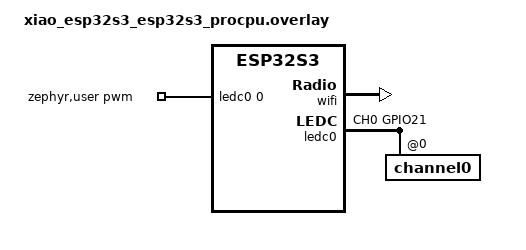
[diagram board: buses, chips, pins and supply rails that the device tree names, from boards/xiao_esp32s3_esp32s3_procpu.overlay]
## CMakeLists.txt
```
# SPDX-License-Identifier: Apache-2.0
# deploybench（板级十）：Agent→真机完整部署 E2E 的板侧载体。
# 凭证与路由地址经 cmake 变量注入（本地脚本传入，不入仓库——netbench 同纪律）：
#   west build ... -- -DDEPLOYBENCH_WIFI_SSID=... -DDEPLOYBENCH_WIFI_PASSWORD=... \
#                    -DDEPLOYBENCH_ROUTER='"tcp/192.168.2.90:9955"'
cmake_minimum_required(VERSION 3.20.0)
find_package(Zephyr REQUIRED HINTS $ENV{ZEPHYR_BASE})
project(deploybench)

target_compile_definitions(app PRIVATE
  DEPLOYBENCH_WIFI_SSID="${DEPLOYBENCH_WIFI_SSID}"
  DEPLOYBENCH_WIFI_PASSWORD="${DEPLOYBENCH_WIFI_PASSWORD}"
  DEPLOYBENCH_ROUTER="${DEPLOYBENCH_ROUTER}")

target_sources(app PRIVATE src/main.c)
```

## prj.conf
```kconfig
# SPDX-License-Identifier: Apache-2.0
# deploybench（板级十）：Agent→真机完整部署 E2E 板侧载体。
# 组合 = netbench（WiFi+zenoh+命令面）+ persistbench（flash 后端+WAMR+分步
# 安装）。prov 首启经 TS_TEST 烧入 flash（此后每次复位出自 flash——板级五
# 语义）；APP 由 Agent 侧经 zenoh 分块部署（client.py 复用 Agent deploy 链）。

# Tessera 框架（部署面全量：net + WAMR 运行时 + flash store）
CONFIG_TS_CORE=y
CONFIG_TS_SAFETY=y
CONFIG_TS_HAL=y
CONFIG_TS_NET=y
CONFIG_TS_NET_ZENOH=y
CONFIG_TS_TEST=y
CONFIG_TS_APP_WAMR=y
CONFIG_TS_STORE=y
CONFIG_FLASH=y
CONFIG_FLASH_MAP=y
CONFIG_TS_STORE_FLASH=y
CONFIG_REBOOT=y

# zenoh-pico（DR-22 钉 1.10.1；netbench 同档）
CONFIG_ZENOH_PICO=y
CONFIG_ZENOH_PICO_PUBLICATION=y
CONFIG_ZENOH_PICO_SUBSCRIPTION=y
CONFIG_ZENOH_PICO_QUERYABLE=y
CONFIG_ZENOH_PICO_LINK_TCP=y
CONFIG_ZENOH_PICO_LINK_UDP_UNICAST=y
CONFIG_ZENOH_PICO_MULTI_THREAD=y
CONFIG_POSIX_API=y

# 网络：WiFi STA + DHCPv4 + lwIP（netbench 同档）
CONFIG_NETWORKING=y
CONFIG_NET_L2_ETHERNET=y
CONFIG_NET_IPV4=y
CONFIG_NET_ARP=y
CONFIG_NET_UDP=y
CONFIG_NET_TCP=y
CONFIG_NET_SOCKETS=y
CONFIG_NET_DHCPV4=y
CONFIG_DNS_RESOLVER=y
CONFIG_WIFI=y
CONFIG_NET_MAX_CONTEXTS=12
# （本行活值——deploybench 板级 conf 无覆盖；atkbench 的 12 被板级 4 覆盖
#  才是 R0 案例。MP R0 纪律：声明是否生效以 .config 为准逐项核对）

# zenoh-pico 会话/读任务内存（netbench 档位；堆权威 = 板级 conf——
# prj.conf 声明≠生效，MP R0 陷阱，查 .config）
CONFIG_MAIN_STACK_SIZE=8192
CONFIG_THREAD_STACK_INFO=y
CONFIG_DYNAMIC_THREAD=y
CONFIG_DYNAMIC_THREAD_ALLOC=y
CONFIG_DYNAMIC_THREAD_PREFER_ALLOC=y
CONFIG_DYNAMIC_THREAD_STACK_SIZE=8192
CONFIG_POSIX_THREAD_THREADS_MAX=8
CONFIG_MAX_PTHREAD_MUTEX_COUNT=16
CONFIG_MAX_PTHREAD_COND_COUNT=16

CONFIG_ENTROPY_GENERATOR=y
CONFIG_PRINTK=y
# 主线程降优先级（bench 同款：net_wq 8 / APP 10 优先于观测线程）
CONFIG_MAIN_THREAD_PRIORITY=15
```

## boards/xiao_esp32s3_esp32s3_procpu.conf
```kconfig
# 板级十：内存片段 = persistbench（slot 32KB/APP 线程栈 16KB）+ netbench
# （系统池 188416——板级七 net_wq 迁离后让 8KB 档位）+ psrambench（WAMR
# 实例堆 256KB 入 PSRAM——板级六；WiFi+zenoh+WAMR 三合一 DRAM 装不下内部堆）。
CONFIG_ESP_SPIRAM=y
CONFIG_SPIRAM_MODE_OCT=y
CONFIG_ESP_SPIRAM_MEMTEST=y
CONFIG_TS_APP_PSRAM_HEAP=y
CONFIG_TS_APP_WAMR_HEAP=262144
CONFIG_TS_STORE_SLOT_SIZE=32768
CONFIG_TS_APP_THREAD_STACK=16384
# 单元 I（MD2-D8）：模块静态面增长（单元 A avq/F 输入数组/D net_wq 栈）
# 超出板级十 748B 余量（dram0 溢出 29460）——系统池 188416→156672（LOAD_MAX +2KB 后再平）
# （-30720；板级七档位重平，D8 全链真机实测验证）。
# MP 基线批（2026-10-19）：4.5-rc1 静态面增长下 dram0 溢出 3388B——
# 145408→139264（−6144，余 ~2.7K 链接余量；标准档实测口径）。
CONFIG_HEAP_MEM_POOL_SIZE=131072
# MP 审计 R1/R2 防御（netbench 双 fail 同型——rx_q 缺省 1500/sysworkq
# 缺省 1024 在 4.5-rc1 部署突发下的 FATAL/静默腐蚀风险；heap 再让 8192）。
CONFIG_NET_RX_STACK_SIZE=4096
CONFIG_SYSTEM_WORKQUEUE_STACK_SIZE=4096
# DRAM 三合一（WiFi+zenoh+WAMR）装不下默认值——DEC-29 每板动态预算裁剪：
# 装载缓冲按夹具尺寸级（286B wasm + 余量）；通道容量按本载体实际注册数
# （1 通道 dbled，留 8）。系统池不动（zenoh 会话峰值域 = 板级七实测档位）。
# 单元 I（MD2-D8）：demo 包 wasm 增大（v2 ~2.7KB）——装载缓冲
# 2048→4096（池预算已腾 30KB，覆盖之）。
CONFIG_TS_APP_LOAD_MAX=4096
# MD1.1（板级十一）：PWM 后端（D3 demo 限幅判据；periphbench 同款绑定）
CONFIG_PWM=y
CONFIG_TS_DRV_PWM=y
# PWM 驱动并入后 dram 再紧——通道容量 8→4（本载体注册 2 通道：dbled/dbpwm）
CONFIG_TS_SAFETY_MAX_CHANNELS=4

# 验签双区 scratch（DEC-49：最大 demo 包 payload ~3.5KB → 7168）
CONFIG_TS_VERIFY_SCRATCH=7168
# 4.5 复验批（同型防御）：verify 链在 4096 main 栈实测挂死（persistbench
# 实证——教训 31⑤ 同型）；8192 定值。
CONFIG_MAIN_STACK_SIZE=8192

# V0.4.0 M7c（Q-32①③）：双实例并行 + 槽池 4（overlay 槽 c/d）
CONFIG_TS_APP_MAX_INSTANCES=2
CONFIG_TS_STORE_SLOT_COUNT=4
# 双实例 WAMR 池（sim 实测 ~150KB/实例 → 板级 512KB@PSRAM）
CONFIG_TS_APP_WAMR_HEAP=524288
# M7c：双实例线程栈（2×8KB = 原单实例 16KB 总量；DRAM 预算守恒）
CONFIG_TS_APP_THREAD_STACK=8192
# M9（DR-15）：kv 面
CONFIG_TS_STORE_KV=y
```

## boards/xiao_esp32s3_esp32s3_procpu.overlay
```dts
/*
 * 板级十：deploybench = WiFi 使能（netbench 同款）+ ts-store flash 分区
 * （persistbench 同款——ts 五分区 + fw-b 预留 carved 自 slot1 空闲区，
 * boot/sys/slot0 与 esptool 偏移零变化）。
 * 板级十一（MD1.1）：并入 PWM 后端绑定（periphbench 同款——D3 呼吸灯
 * demo 限幅判据需要板上 PWM 通道；LEDC_CH0 → GPIO21 板载 LED）。
 */
#include <zephyr/dt-bindings/pinctrl/esp32s3-pinctrl.h>

&wifi {
	status = "okay";
};

&pinctrl {
	pb_ledc0: pb_ledc0 {
		group1 {
			pinmux = <LEDC_CH0_GPIO21>;
			output-enable;
		};
	};
};

&ledc0 {
	status = "okay";
	pinctrl-0 = <&pb_ledc0>;
	pinctrl-names = "default";
	#address-cells = <1>;
	#size-cells = <0>;
	channel0@0 {
		reg = <0x0>;
		timer = <0>;
	};
};

/delete-node/ &slot1_partition;

&flash0 {
	partitions {
		ts_prov_part: partition@170000 {
			compatible = "zephyr,mapped-partition";
			label = "ts-prov";
			reg = <0x170000 0x1000>;
		};
		ts_meta_part: partition@171000 {
			compatible = "zephyr,mapped-partition";
			label = "ts-meta";
			reg = <0x171000 0x2000>;
		};
		ts_slot_a_part: partition@173000 {
			compatible = "zephyr,mapped-partition";
			label = "ts-slot-a";
			reg = <0x173000 0x8000>;
		};
		ts_slot_b_part: partition@17b000 {
			compatible = "zephyr,mapped-partition";
			label = "ts-slot-b";
			reg = <0x17b000 0x8000>;
		};
		/* V0.4.0 M7c（Q-32②）：槽池扩至 4——entry1 双槽乒乓对 {2,3} */
		ts_slot_c_part: partition@183000 {
			compatible = "zephyr,mapped-partition";
			label = "ts-slot-c";
			reg = <0x183000 0x8000>;
		};
		ts_slot_d_part: partition@18b000 {
			compatible = "zephyr,mapped-partition";
			label = "ts-slot-d";
			reg = <0x18b000 0x8000>;
		};
		ts_noinit_part: partition@193000 {
			compatible = "zephyr,mapped-partition";
			label = "ts-noinit";
			reg = <0x193000 0x1000>;
		};
		/* V0.4.0 M9（DR-15）：APP 状态 kv 8KB（两页 × 15 槽 × 264B） */
		ts_kv_part: partition@194000 {
			compatible = "zephyr,mapped-partition";
			label = "ts-kv";
			reg = <0x194000 0x2000>;
		};
		/* fw-b：未来 MCUmgr 固件第二 slot 预留（DEC-23；V1 未接线——
		 * M7c/M9 连续让位） */
		fw_b_part: partition@196000 {
			label = "fw-b";
			reg = <0x196000 0x12a000>;
		};
	};
};

/ {
	zephyr,user {
		/* PWM 后端绑定（板级九模式）：uid 匹配通道逻辑名 */
		pwm-uid = "dbpwm";
		pwms = <&ledc0 0 1000000 0>;
	};
};
```

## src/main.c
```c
/* SPDX-License-Identifier: Apache-2.0 */
/* deploybench（板级十）：Agent→真机完整部署 E2E 的板侧载体
 * （docs/board-deploy.md）。链路：WiFi STA（glue = netbench 板级七定稿：
 * 固定 2s 无抖动重试 + 断线 DHCP 重启 + media_down 下沉）→ prov flash 持久
 * （首启 TS_TEST 烧入，此后复位全出自 flash——板级五语义）→ ts_core_boot
 * （net_init → zenoh 命令面〔sys/app-* 分步安装链〕+ 步骤 8 slot 装载）。
 * 部署编排全部在 Agent 侧（client.py 复用 deploy 链：发现→租约→分块→
 * verify→activate→get-app）；板侧只做：激活检测 → 自动暖复位 → 复位后
 * APP 自 slot 装载运行的观测宣告。
 *
 * DB* console 行 = 板侧时间线；DEPLOY_* = client.py 侧判定。
 * 凭证经 cmake 变量注入（DEPLOYBENCH_WIFI_*，不入仓库）。 */
#include <string.h>
#include <zephyr/kernel.h>
#include <zephyr/net/net_event.h>
#include <zephyr/net/net_if.h>
#include <zephyr/net/net_mgmt.h>
#include <zephyr/net/wifi_mgmt.h>
#include <zephyr/net/dhcpv4.h> /* 须在 net_if.h 之后（参数表内 struct net_if 可见性） */
#include <zephyr/sys/atomic.h>
#include <zephyr/sys/reboot.h>
#include <ts/appmgr.h>
#include <ts/core.h>
#include <ts/hal.h>
#include <ts/net.h>
#include <ts/safety.h>
#include <ts/store.h>

#ifndef DEPLOYBENCH_WIFI_SSID
#define DEPLOYBENCH_WIFI_SSID ""
#endif
#ifndef DEPLOYBENCH_WIFI_PASSWORD
#define DEPLOYBENCH_WIFI_PASSWORD ""
#endif
#ifndef DEPLOYBENCH_ROUTER
#define DEPLOYBENCH_ROUTER "tcp/192.168.2.91:9955"
#endif

/* ---- WiFi glue（netbench 板级七定稿模式，全文照搬语义） ------------------ */

static struct net_mgmt_event_callback ip_cb;
static struct net_mgmt_event_callback wifi_cb;
static struct k_sem ip_ready;
static atomic_t assoc_ok_evt;
static atomic_t disconn_evt;
static struct k_work_delayable wifi_retry_work;
static struct k_work assoc_work;
static struct wifi_connect_req_params cnx;

static void wifi_try_connect(struct k_work *w)
{
	ARG_UNUSED(w);
	int rc = net_mgmt(NET_REQUEST_WIFI_CONNECT, net_if_get_default(),
			  &cnx, sizeof(cnx));

	if (rc != 0) {
		k_work_reschedule(&wifi_retry_work, K_SECONDS(2));
	}
}

static void wifi_assoc_work(struct k_work *w)
{
	/* net_mgmt 一律工作项上下文（回调内重入自激——板级七实证） */
	ARG_UNUSED(w);
	struct net_if *iface = net_if_get_default();

	if (atomic_set(&disconn_evt, 0) == 1) {
		ts_net_session_media_down();
		net_dhcpv4_restart(iface);
		k_work_reschedule(&wifi_retry_work, K_SECONDS(2));
	}
	if (atomic_set(&assoc_ok_evt, 0) == 1) {
		struct wifi_ps_params ps = {.enabled = WIFI_PS_DISABLED};

		(void)net_mgmt(NET_REQUEST_WIFI_PS, iface, &ps, sizeof(ps));
		printk("DBw associated t=%u\n", (unsigned)k_uptime_get_32());
	}
}

static void ip_handler(struct net_mgmt_event_callback *cb, uint64_t event,
		       struct net_if *iface)
{
	ARG_UNUSED(cb);
	if (event == NET_EVENT_IPV4_ADDR_ADD && net_if_is_up(iface)) {
		k_sem_give(&ip_ready);
	}
}

static void wifi_handler(struct net_mgmt_event_callback *cb, uint64_t event,
			 struct net_if *iface)
{
	ARG_UNUSED(iface);
	if (event == NET_EVENT_WIFI_CONNECT_RESULT) {
		const struct wifi_status *st =
			(const struct wifi_status *)cb->info;

		if (st != NULL && st->status == 0) {
			atomic_set(&assoc_ok_evt, 1);
		}
	} else if (event == NET_EVENT_WIFI_DISCONNECT_RESULT) {
		atomic_set(&disconn_evt, 1);
	}
	if (atomic_get(&assoc_ok_evt) == 1 || atomic_get(&disconn_evt) == 1) {
		k_work_submit(&assoc_work);
	}
}

/* {"v":1,"node_id":"dbn","cube_id":"dbc","routers":["tcp/192.168.2.101:9957"],
 *  "pk0":32×00,"pk1":32×00,"cred":"","pwr_ma":500,"estop":0}（定稿键序，
 *  prov.c 固定走查序）。**数组 = 脚本机械生成并按固件 schema 走查验证**
 *  （~/project/logs/gen_db_prov.py：netbench 数组改 id 字节）——手抄曾丢
 *  6 字节致固件解析 fail-closed（板级十过程留痕）。router 字面量生成期
 *  固化——PC 侧 IP 变更须重生成。pk 全零：V1 固件验签 = COSE 结构级
 *  （tag18+array4，pkg.c verify_cose_minimal 已知限制），与 Agent 侧
 *  tsap_verify（真 ed25519）分层——板级十报告留痕。 */
static const uint8_t prov_blob[] = {
	0xa9, 0x61, 0x76, 0x01, 0x67, 0x6e, 0x6f, 0x64, 0x65, 0x5f, 0x69, 0x64,
	0x63, 0x64, 0x62, 0x6e, 0x67, 0x63, 0x75, 0x62, 0x65, 0x5f, 0x69, 0x64,
	0x63, 0x64, 0x62, 0x63, 0x67, 0x72, 0x6f, 0x75, 0x74, 0x65, 0x72, 0x73,
	0x81, 0x76, 0x74, 0x63, 0x70, 0x2f, 0x31, 0x39, 0x32, 0x2e, 0x31, 0x36,
	0x38, 0x2e, 0x32, 0x2e, 0x31, 0x30, 0x31, 0x3a, 0x39, 0x39, 0x35, 0x37,
	0x63, 0x70, 0x6b, 0x30, 0x58, 0x20, 0x00, 0x00, 0x00, 0x00, 0x00, 0x00,
	0x00, 0x00, 0x00, 0x00, 0x00, 0x00, 0x00, 0x00, 0x00, 0x00, 0x00, 0x00,
	0x00, 0x00, 0x00, 0x00, 0x00, 0x00, 0x00, 0x00, 0x00, 0x00, 0x00, 0x00,
	0x00, 0x00, 0x63, 0x70, 0x6b, 0x31, 0x58, 0x20, 0x00, 0x00, 0x00, 0x00,
	0x00, 0x00, 0x00, 0x00, 0x00, 0x00, 0x00, 0x00, 0x00, 0x00, 0x00, 0x00,
	0x00, 0x00, 0x00, 0x00, 0x00, 0x00, 0x00, 0x00, 0x00, 0x00, 0x00, 0x00,
	0x00, 0x00, 0x00, 0x00, 0x64, 0x63, 0x72, 0x65, 0x64, 0x60, 0x66, 0x70,
	0x77, 0x72, 0x5f, 0x6d, 0x61, 0x19, 0x01, 0xf4, 0x65, 0x65, 0x73, 0x74,
	0x6f, 0x70, 0x00,
};

/* APP 部署目标通道（gpio inst 0 = dbled；PWM inst 1 = dbpwm）
 * MD1.1 增 PWM 通道：D3 呼吸灯 demo 限幅判据（limits max = 5000Hz|700‰，
 * periphbench PP3 同款——超限请求 → 落 700‰ + 审计 res=TS_E_RANGE） */
static const ts_out_ch_t db_led = {
	.uid = "dbled", .kind = TS_CH_GPIO,
	.poweron = {.b = false}, .linkloss = {.b = false}, .fault = {.b = false},
};
static const ts_hal_dev_desc_t db_dev = {
	.uid = "dbled", .kind = TS_DEV_GPIO_OUT,
};
/* PWM 打包域（LLD-ts-hal §3）：高 16 = hz/100、低 16 = permille */
#define PWM_PACK(hz, pm) ((((hz) / 100U) << 16) | (pm))
static const ts_out_ch_t db_pwm = {
	.uid = "dbpwm", .kind = TS_CH_PWM,
	.poweron = {.u = PWM_PACK(1000, 0)},
	.linkloss = {.u = PWM_PACK(1000, 0)},
	.fault = {.u = PWM_PACK(1000, 0)},
	.limits = {.min = PWM_PACK(1000, 0), .max = PWM_PACK(1000, 700),
		   .slew_per_ms = 0},
};
static const ts_hal_dev_desc_t db_pwm_dev = {
	.uid = "dbpwm", .kind = TS_DEV_PWM,
};

/* ---- 部署观测线程：激活检测 → 暖复位 → APP 运行宣告 --------------------- */

static void deploy_watch(void *p1, void *p2, void *p3)
{
	ARG_UNUSED(p1);
	ARG_UNUSED(p2);
	ARG_UNUSED(p3);
	/* 等 zenoh 会话（WiFi+DHCP+zenoh 全链；上电首启 ~8s 量级） */
	for (int i = 0; i < 600 && ts_net_state() != TS_NET_CONNECTED; i++) {
		k_msleep(100);
	}
	if (ts_net_state() != TS_NET_CONNECTED) {
		printk("DB FAIL no session t=%u\n", (unsigned)k_uptime_get_32());
		return;
	}

	ts_app_info_t info;

	if (ts_appmgr_get_info(&info) != TS_OK) {
		return;
	}
	if (info.app_id[0] != '\0' && info.state == TS_APP_ACTIVE) {
		/* 复位后路径：步骤 8 已自 slot 装载并运行（Agent 侧 get-app
		 * 对拍 state=ACTIVE + app_id）。MD1.1 修复：运行中持续检测
		 * 后续激活（连续部署场景——板级十单次部署设计在 MD1 暴露：
		 * alive 循环不再看激活 = 第 2 个起 demo 永远 STAGED）。 */
		uint8_t loaded = info.active_slot;

		printk("DB6 app running app_id=%s slot=%u t=%u\n",
		       info.app_id, info.active_slot,
		       (unsigned)k_uptime_get_32());
		printk("DB PASS\n");
		for (int i = 0;; i++) {
			k_msleep(2000);
			ts_app_info_t cur;

			if (ts_appmgr_get_info(&cur) == TS_OK &&
			    cur.state == TS_APP_STAGED &&
			    cur.active_slot != loaded) {
				printk("DB4 activated slot=%u（2s 后暖复位装载）\n",
				       cur.active_slot);
				k_msleep(2000);
				printk("DB5 warm reboot\n");
				sys_reboot(SYS_REBOOT_WARM);
			}
			if (i % 5 == 0) {
				printk("DB alive t=%u net=%d\n",
				       (unsigned)k_uptime_get_32(),
				       (int)ts_net_state());
			}
		}
	}

	/* 首启路径：等 Agent 激活（stage 槽 ≠ 当前 meta 活动槽）→ 暖复位
	 * （激活语义：STAGED 待加载周期——运行需重启装载，persistbench 同型） */
	printk("DB3 deploy target ready slot=%u t=%u（等待 Agent 部署）\n",
	       info.active_slot, (unsigned)k_uptime_get_32());
	for (;;) {
		k_msleep(300);
		ts_app_info_t cur;

		if (ts_appmgr_get_info(&cur) != TS_OK) {
			continue;
		}
		if (cur.active_slot != info.active_slot &&
		    cur.state == TS_APP_STAGED) {
			printk("DB4 activated slot=%u（2s 后暖复位装载）\n",
			       cur.active_slot);
			k_msleep(2000);
			printk("DB5 warm reboot\n");
			sys_reboot(SYS_REBOOT_WARM);
		}
	}
}
K_THREAD_DEFINE(deploy_watch_tid, 4096, deploy_watch, NULL, NULL, NULL, 13, 0, 0);

int main(void)
{
	printk("DB0 deploybench start\n");

	struct net_if *iface = net_if_get_default();

	k_sem_init(&ip_ready, 0, 1);
	k_work_init_delayable(&wifi_retry_work, wifi_try_connect);
	k_work_init(&assoc_work, wifi_assoc_work);
	net_mgmt_init_event_callback(&ip_cb, ip_handler, NET_EVENT_IPV4_ADDR_ADD);
	net_mgmt_add_event_callback(&ip_cb);
	net_mgmt_init_event_callback(&wifi_cb, wifi_handler,
				     NET_EVENT_WIFI_CONNECT_RESULT |
				     NET_EVENT_WIFI_DISCONNECT_RESULT);
	net_mgmt_add_event_callback(&wifi_cb);

	static const uint8_t ssid[] = DEPLOYBENCH_WIFI_SSID;
	static const uint8_t psk[] = DEPLOYBENCH_WIFI_PASSWORD;

	cnx = (struct wifi_connect_req_params){
		.ssid = ssid,
		.ssid_length = sizeof(ssid) - 1,
		.psk = psk,
		.psk_length = sizeof(psk) - 1,
		.security = WIFI_SECURITY_TYPE_PSK,
		.channel = WIFI_CHANNEL_ANY,
		.band = WIFI_FREQ_BAND_2_4_GHZ,
		.mfp = WIFI_MFP_OPTIONAL,
	};

	int rc = net_mgmt(NET_REQUEST_WIFI_CONNECT, iface, &cnx, sizeof(cnx));

	printk("DB1 wifi_connect rc=%d\n", rc);
	if (k_sem_take(&ip_ready, K_SECONDS(40)) != 0) {
		printk("DB FAIL dhcp timeout\n");
		return 1;
	}

	/* prov：flash 后端首启烧入，此后复位直读（板级五语义）；netbench 是
	 * RAM 后端每次启动重烧——本载体换持久路径（部署目标不依赖测试注入） */
	ts_res_t lr = ts_store_prov_load();
	ts_res_t wr = (lr == TS_OK)
		? TS_OK
		: ts_store_prov_write_test(prov_blob, sizeof(prov_blob));

	printk("DB2 prov load=%d burn=%d（0=OK/-8=空）\n", (int)lr, (int)wr);
	if (wr != TS_OK) {
		printk("DB FAIL prov\n");
		return 1;
	}
	/* PWM 后端 init 须在通道注册前（板级九纪律：缺绑定 = -ENODEV 如实上报） */
	if (ts_drv_pwm_init() != 0) {
		printk("DB FAIL pwm init\n");
		return 1;
	}
	(void)ts_safety_register_channel(&db_led);
	(void)ts_hal_register_dev(&db_dev);
	(void)ts_safety_register_channel(&db_pwm);
	(void)ts_hal_register_dev(&db_pwm_dev);
	ts_core_boot(); /* noreturn：net_init → zenoh 命令面 + 步骤 8 slot 装载 */
	return 0;
}
```
